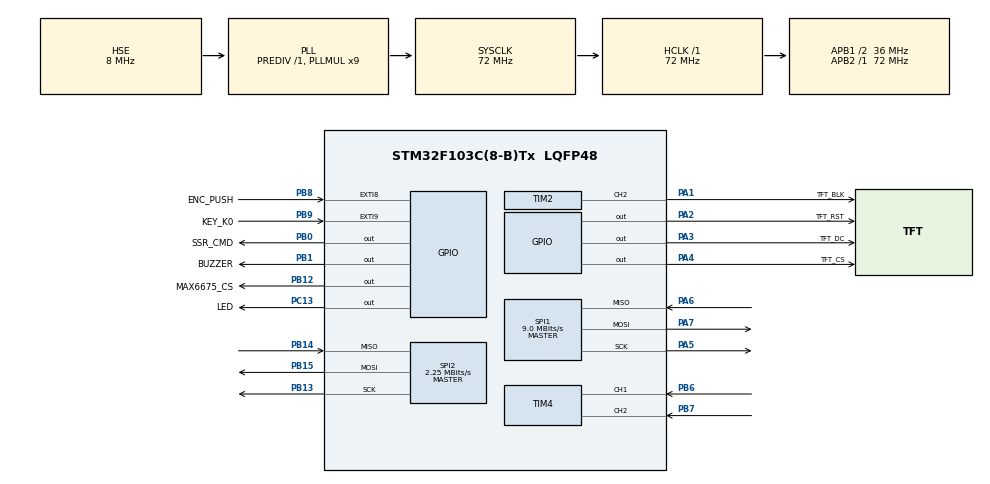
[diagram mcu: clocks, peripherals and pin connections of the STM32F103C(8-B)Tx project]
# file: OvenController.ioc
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Mcu.Family=STM32F1
Mcu.Name=STM32F103C(8-B)Tx
Mcu.Package=LQFP48
NVIC.EXTI9_5_IRQn=true\:0\:0\:false\:false\:true\:true\:true\:true
NVIC.PriorityGroup=NVIC_PRIORITYGROUP_4
PA1.GPIO_Label=TFT_BLK
PA1.Signal=S_TIM2_CH2
PA13.Mode=Serial_Wire
PA13.Signal=SYS_JTMS-SWDIO
PA14.Mode=Serial_Wire
PA14.Signal=SYS_JTCK-SWCLK
PA2.GPIO_Label=TFT_RST
PA2.PinState=GPIO_PIN_SET
PA2.Signal=GPIO_Output
PA3.GPIO_Label=TFT_DC
PA3.Signal=GPIO_Output
PA4.GPIO_Label=TFT_CS
PA4.PinState=GPIO_PIN_SET
PA4.Signal=GPIO_Output
PA5.Mode=Full_Duplex_Master
PA5.Signal=SPI1_SCK
PA6.Mode=Full_Duplex_Master
PA6.Signal=SPI1_MISO
PA7.Mode=Full_Duplex_Master
PA7.Signal=SPI1_MOSI
PB0.GPIO_Label=SSR_CMD
PB0.Signal=GPIO_Output
PB1.GPIO_Label=BUZZER
PB1.Signal=GPIO_Output
PB12.GPIO_Label=MAX6675_CS
PB12.PinState=GPIO_PIN_SET
PB12.Signal=GPIO_Output
PB13.Mode=Full_Duplex_Master
PB13.Signal=SPI2_SCK
PB14.Mode=Full_Duplex_Master
PB14.Signal=SPI2_MISO
PB15.Mode=Full_Duplex_Master
PB15.Signal=SPI2_MOSI
PB6.Signal=S_TIM4_CH1
PB7.Signal=S_TIM4_CH2
PB8.GPIO_Label=ENC_PUSH
PB8.GPIO_ModeDefaultEXTI=GPIO_MODE_IT_FALLING
PB8.GPIO_PuPd=GPIO_PULLUP
PB8.Signal=GPXTI8
PB9.GPIO_Label=KEY_K0
PB9.GPIO_ModeDefaultEXTI=GPIO_MODE_IT_FALLING
PB9.GPIO_PuPd=GPIO_PULLUP
PB9.Signal=GPXTI9
PC13-TAMPER-RTC.GPIO_Label=LED
PC13-TAMPER-RTC.Signal=GPIO_Output
PD0-OSC_IN.Mode=HSE-External-Oscillator
PD0-OSC_IN.Signal=RCC_OSC_IN
PD1-OSC_OUT.Mode=HSE-External-Oscillator
PD1-OSC_OUT.Signal=RCC_OSC_OUT
ProjectManager.HeapSize=0x200
ProjectManager.StackSize=0x400
ProjectManager.TargetToolchain=STM32CubeIDE
RCC.AHBFreq_Value=72000000
RCC.APB1CLKDivider=RCC_HCLK_DIV2
RCC.APB1Freq_Value=36000000
RCC.APB1TimFreq_Value=72000000
RCC.APB2Freq_Value=72000000
RCC.APB2TimFreq_Value=72000000
RCC.HCLKFreq_Value=72000000
RCC.PLLMUL=RCC_PLL_MUL9
RCC.PLLSourceVirtual=RCC_PLLSOURCE_HSE
RCC.SYSCLKFreq_VALUE=72000000
RCC.SYSCLKSource=RCC_SYSCLKSOURCE_PLLCLK
RCC.USBFreq_Value=72000000
SH.S_TIM2_CH2.0=TIM2_CH2,PWM Generation2 CH2
SH.S_TIM4_CH1.0=TIM4_CH1,Encoder_Interface
SH.S_TIM4_CH2.0=TIM4_CH2,Encoder_Interface
SPI1.BaudRatePrescaler=SPI_BAUDRATEPRESCALER_8
SPI1.CalculateBaudRate=9.0 MBits/s
SPI1.Direction=SPI_DIRECTION_2LINES
SPI1.Mode=SPI_MODE_MASTER
SPI1.VirtualType=VM_MASTER
SPI2.BaudRatePrescaler=SPI_BAUDRATEPRESCALER_16
SPI2.CalculateBaudRate=2.25 MBits/s
SPI2.Direction=SPI_DIRECTION_2LINES
SPI2.Mode=SPI_MODE_MASTER
SPI2.VirtualType=VM_MASTER
TIM2.Channel-PWM\ Generation2\ CH2=TIM_CHANNEL_2
TIM2.Period=999
TIM2.Prescaler=71
TIM4.EncoderMode=TIM_ENCODERMODE_TI12
TIM4.IC1Filter=4
TIM4.IC2Filter=4
board=custom

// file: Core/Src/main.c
/* USER CODE BEGIN Header */
/**
 ******************************************************************************
 * @file           : main.c
 * @brief          : Main program body
 ******************************************************************************
 * @attention
 *
 * Copyright (c) 2026 STMicroelectronics.
 * All rights reserved.
 *
 * This software is licensed under terms that can be found in the LICENSE file
 * in the root directory of this software component.
 * If no LICENSE file comes with this software, it is provided AS-IS.
 *
 ******************************************************************************
 */
/* USER CODE END Header */
#include "main.h"

/* USER CODE BEGIN Includes */
#include "st7789.h"
#include "oven_app.h"
/* USER CODE END Includes */

SPI_HandleTypeDef hspi1;
SPI_HandleTypeDef hspi2;

TIM_HandleTypeDef htim2;
TIM_HandleTypeDef htim4;

void SystemClock_Config(void);
static void MX_GPIO_Init(void);
static void MX_SPI1_Init(void);
static void MX_SPI2_Init(void);
static void MX_TIM2_Init(void);
static void MX_TIM4_Init(void);

/* USER CODE BEGIN 0 */

/* Pode ser chamada antes da HAL e de dentro dos handlers de falha. */
void Safety_HeaterOff(void) {
	RCC->APB2ENR |= RCC_APB2ENR_IOPBEN;
	(void) RCC->APB2ENR;
	GPIOB->BRR = SSR_CMD_Pin;
	/* PB0: saida push-pull, 2 MHz. Garante nivel baixo mesmo antes de MX_GPIO_Init. */
	GPIOB->CRL = (GPIOB->CRL & ~0xFUL) | 0x2UL;
}

void Safety_WatchdogInit(void) {
	uint32_t start = HAL_GetTick();
#ifdef DEBUG
	/* Permite inspecionar o firmware com o core parado no depurador. */
	DBGMCU->CR |= DBGMCU_CR_DBG_IWDG_STOP;
#endif
	IWDG->KR = 0xCCCCU;
	IWDG->KR = 0x5555U;
	IWDG->PR = 6U;    /* LSI / 256 */
	IWDG->RLR = 1249U; /* Aproximadamente 8 s para LSI de 40 kHz. */
	while (IWDG->SR != 0U) {
		if ((uint32_t)(HAL_GetTick() - start) >= 100U) {
			Error_Handler();
		}
	}
	IWDG->KR = 0xAAAAU;
}

void Safety_WatchdogRefresh(void) {
	IWDG->KR = 0xAAAAU;
}

/* USER CODE END 0 */

int main(void) {

	/* USER CODE BEGIN 1 */
	Safety_HeaterOff();

	/* USER CODE END 1 */

	/* MCU Configuration--------------------------------------------------------*/

	/* Reset of all peripherals, Initializes the Flash interface and the Systick. */
	HAL_Init();

	/* Configure the system clock */
	SystemClock_Config();

	/* Initialize all configured peripherals */
	MX_GPIO_Init();
	MX_SPI1_Init();
	MX_SPI2_Init();
	MX_TIM2_Init();
	MX_TIM4_Init();
	/* USER CODE BEGIN 2 */
	Safety_WatchdogInit();
	/* Backlight TFT */
	if (HAL_TIM_PWM_Start(&htim2, TIM_CHANNEL_2) != HAL_OK) {
		Error_Handler();
	}
	__HAL_TIM_SET_COMPARE(&htim2, TIM_CHANNEL_2, 999);

	/* Display e aplicacao */
	ST7789_Init();
	OvenApp_Init();
	/* USER CODE END 2 */

	/* Infinite loop */
	while (1) {

		/* USER CODE BEGIN 3 */
		OvenApp_Process();
		/* Alimenta apenas apos completar sensor, controle e UI. */
		Safety_WatchdogRefresh();
		/* USER CODE END 3 */
	}
}

void SystemClock_Config(void) {
	RCC_OscInitTypeDef RCC_OscInitStruct = { 0 };
	RCC_ClkInitTypeDef RCC_ClkInitStruct = { 0 };

	/** Initializes the RCC Oscillators according to the specified parameters
	 * in the RCC_OscInitTypeDef structure.
	 */
	RCC_OscInitStruct.OscillatorType = RCC_OSCILLATORTYPE_HSE;
	RCC_OscInitStruct.HSEState = RCC_HSE_ON;
	RCC_OscInitStruct.HSEPredivValue = RCC_HSE_PREDIV_DIV1;
	RCC_OscInitStruct.HSIState = RCC_HSI_ON;
	RCC_OscInitStruct.PLL.PLLState = RCC_PLL_ON;
	RCC_OscInitStruct.PLL.PLLSource = RCC_PLLSOURCE_HSE;
	RCC_OscInitStruct.PLL.PLLMUL = RCC_PLL_MUL9;
	if (HAL_RCC_OscConfig(&RCC_OscInitStruct) != HAL_OK) {
		Error_Handler();
	}

	/** Initializes the CPU, AHB and APB buses clocks
	 */
	RCC_ClkInitStruct.ClockType = RCC_CLOCKTYPE_HCLK | RCC_CLOCKTYPE_SYSCLK
			| RCC_CLOCKTYPE_PCLK1 | RCC_CLOCKTYPE_PCLK2;
	RCC_ClkInitStruct.SYSCLKSource = RCC_SYSCLKSOURCE_PLLCLK;
	RCC_ClkInitStruct.AHBCLKDivider = RCC_SYSCLK_DIV1;
	RCC_ClkInitStruct.APB1CLKDivider = RCC_HCLK_DIV2;
	RCC_ClkInitStruct.APB2CLKDivider = RCC_HCLK_DIV1;

	if (HAL_RCC_ClockConfig(&RCC_ClkInitStruct, FLASH_LATENCY_2) != HAL_OK) {
		Error_Handler();
	}
}

static void MX_SPI1_Init(void) {

	/* SPI1 parameter configuration*/
	hspi1.Instance = SPI1;
	hspi1.Init.Mode = SPI_MODE_MASTER;
	hspi1.Init.Direction = SPI_DIRECTION_2LINES;
	hspi1.Init.DataSize = SPI_DATASIZE_8BIT;
	hspi1.Init.CLKPolarity = SPI_POLARITY_LOW;
	hspi1.Init.CLKPhase = SPI_PHASE_1EDGE;
	hspi1.Init.NSS = SPI_NSS_SOFT;
	hspi1.Init.BaudRatePrescaler = SPI_BAUDRATEPRESCALER_8;
	hspi1.Init.FirstBit = SPI_FIRSTBIT_MSB;
	hspi1.Init.TIMode = SPI_TIMODE_DISABLE;
	hspi1.Init.CRCCalculation = SPI_CRCCALCULATION_DISABLE;
	hspi1.Init.CRCPolynomial = 10;
	if (HAL_SPI_Init(&hspi1) != HAL_OK) {
		Error_Handler();
	}

}

static void MX_SPI2_Init(void) {

	/* SPI2 parameter configuration*/
	hspi2.Instance = SPI2;
	hspi2.Init.Mode = SPI_MODE_MASTER;
	hspi2.Init.Direction = SPI_DIRECTION_2LINES;
	hspi2.Init.DataSize = SPI_DATASIZE_8BIT;
	hspi2.Init.CLKPolarity = SPI_POLARITY_LOW;
	hspi2.Init.CLKPhase = SPI_PHASE_1EDGE;
	hspi2.Init.NSS = SPI_NSS_SOFT;
	hspi2.Init.BaudRatePrescaler = SPI_BAUDRATEPRESCALER_16;
	hspi2.Init.FirstBit = SPI_FIRSTBIT_MSB;
	hspi2.Init.TIMode = SPI_TIMODE_DISABLE;
	hspi2.Init.CRCCalculation = SPI_CRCCALCULATION_DISABLE;
	hspi2.Init.CRCPolynomial = 10;
	if (HAL_SPI_Init(&hspi2) != HAL_OK) {
		Error_Handler();
	}

}

static void MX_TIM2_Init(void) {

	TIM_MasterConfigTypeDef sMasterConfig = { 0 };
	TIM_OC_InitTypeDef sConfigOC = { 0 };

	htim2.Instance = TIM2;
	htim2.Init.Prescaler = 71;
	htim2.Init.CounterMode = TIM_COUNTERMODE_UP;
	htim2.Init.Period = 999;
	htim2.Init.ClockDivision = TIM_CLOCKDIVISION_DIV1;
	htim2.Init.AutoReloadPreload = TIM_AUTORELOAD_PRELOAD_DISABLE;
	if (HAL_TIM_PWM_Init(&htim2) != HAL_OK) {
		Error_Handler();
	}
	sMasterConfig.MasterOutputTrigger = TIM_TRGO_RESET;
	sMasterConfig.MasterSlaveMode = TIM_MASTERSLAVEMODE_DISABLE;
	if (HAL_TIMEx_MasterConfigSynchronization(&htim2, &sMasterConfig)
			!= HAL_OK) {
		Error_Handler();
	}
	sConfigOC.OCMode = TIM_OCMODE_PWM1;
	sConfigOC.Pulse = 999;
	sConfigOC.OCPolarity = TIM_OCPOLARITY_HIGH;
	sConfigOC.OCFastMode = TIM_OCFAST_DISABLE;
	if (HAL_TIM_PWM_ConfigChannel(&htim2, &sConfigOC, TIM_CHANNEL_2)
			!= HAL_OK) {
		Error_Handler();
	}
	HAL_TIM_MspPostInit(&htim2);

}

static void MX_TIM4_Init(void) {

	TIM_Encoder_InitTypeDef sConfig = { 0 };
	TIM_MasterConfigTypeDef sMasterConfig = { 0 };

	htim4.Instance = TIM4;
	htim4.Init.Prescaler = 0;
	htim4.Init.CounterMode = TIM_COUNTERMODE_UP;
	htim4.Init.Period = 65535;
	htim4.Init.ClockDivision = TIM_CLOCKDIVISION_DIV1;
	htim4.Init.AutoReloadPreload = TIM_AUTORELOAD_PRELOAD_DISABLE;
	sConfig.EncoderMode = TIM_ENCODERMODE_TI12;
	sConfig.IC1Polarity = TIM_ICPOLARITY_RISING;
	sConfig.IC1Selection = TIM_ICSELECTION_DIRECTTI;
	sConfig.IC1Prescaler = TIM_ICPSC_DIV1;
	sConfig.IC1Filter = 4;
	sConfig.IC2Polarity = TIM_ICPOLARITY_RISING;
	sConfig.IC2Selection = TIM_ICSELECTION_DIRECTTI;
	sConfig.IC2Prescaler = TIM_ICPSC_DIV1;
	sConfig.IC2Filter = 4;
	if (HAL_TIM_Encoder_Init(&htim4, &sConfig) != HAL_OK) {
		Error_Handler();
	}
	sMasterConfig.MasterOutputTrigger = TIM_TRGO_RESET;
	sMasterConfig.MasterSlaveMode = TIM_MASTERSLAVEMODE_DISABLE;
	if (HAL_TIMEx_MasterConfigSynchronization(&htim4, &sMasterConfig)
			!= HAL_OK) {
		Error_Handler();
	}

}

static void MX_GPIO_Init(void) {
	GPIO_InitTypeDef GPIO_InitStruct = { 0 };

	/* GPIO Ports Clock Enable */
	__HAL_RCC_GPIOC_CLK_ENABLE();
	__HAL_RCC_GPIOD_CLK_ENABLE();
	__HAL_RCC_GPIOA_CLK_ENABLE();
	__HAL_RCC_GPIOB_CLK_ENABLE();

	/*Configure GPIO pin Output Level */
	HAL_GPIO_WritePin(LED_GPIO_Port, LED_Pin, GPIO_PIN_RESET);

	/*Configure GPIO pin Output Level */
	HAL_GPIO_WritePin(GPIOA, TFT_RST_Pin | TFT_CS_Pin, GPIO_PIN_SET);

	/*Configure GPIO pin Output Level */
	HAL_GPIO_WritePin(TFT_DC_GPIO_Port, TFT_DC_Pin, GPIO_PIN_RESET);

	/*Configure GPIO pin Output Level */
	HAL_GPIO_WritePin(GPIOB, SSR_CMD_Pin | BUZZER_Pin, GPIO_PIN_RESET);

	/*Configure GPIO pin Output Level */
	HAL_GPIO_WritePin(MAX6675_CS_GPIO_Port, MAX6675_CS_Pin, GPIO_PIN_SET);

	/*Configure GPIO pin : LED_Pin */
	GPIO_InitStruct.Pin = LED_Pin;
	GPIO_InitStruct.Mode = GPIO_MODE_OUTPUT_PP;
	GPIO_InitStruct.Pull = GPIO_NOPULL;
	GPIO_InitStruct.Speed = GPIO_SPEED_FREQ_LOW;
	HAL_GPIO_Init(LED_GPIO_Port, &GPIO_InitStruct);

	/*Configure GPIO pins : TFT_RST_Pin TFT_DC_Pin TFT_CS_Pin */
	GPIO_InitStruct.Pin = TFT_RST_Pin | TFT_DC_Pin | TFT_CS_Pin;
	GPIO_InitStruct.Mode = GPIO_MODE_OUTPUT_PP;
	GPIO_InitStruct.Pull = GPIO_NOPULL;
	GPIO_InitStruct.Speed = GPIO_SPEED_FREQ_LOW;
	HAL_GPIO_Init(GPIOA, &GPIO_InitStruct);

	/*Configure GPIO pins : SSR_CMD_Pin BUZZER_Pin MAX6675_CS_Pin */
	GPIO_InitStruct.Pin = SSR_CMD_Pin | BUZZER_Pin | MAX6675_CS_Pin;
	GPIO_InitStruct.Mode = GPIO_MODE_OUTPUT_PP;
	GPIO_InitStruct.Pull = GPIO_NOPULL;
	GPIO_InitStruct.Speed = GPIO_SPEED_FREQ_LOW;
	HAL_GPIO_Init(GPIOB, &GPIO_InitStruct);

	/*Configure GPIO pins : ENC_PUSH_Pin KEY_K0_Pin */
	GPIO_InitStruct.Pin = ENC_PUSH_Pin | KEY_K0_Pin;
	GPIO_InitStruct.Mode = GPIO_MODE_IT_FALLING;
	GPIO_InitStruct.Pull = GPIO_PULLUP;
	HAL_GPIO_Init(GPIOB, &GPIO_InitStruct);

	/* EXTI interrupt init*/
	HAL_NVIC_SetPriority(EXTI9_5_IRQn, 0, 0);
	HAL_NVIC_EnableIRQ(EXTI9_5_IRQn);

}

void Error_Handler(void) {
	/* USER CODE BEGIN Error_Handler_Debug */
	Safety_HeaterOff();
	/* User can add his own implementation to report the HAL error return state */
	__disable_irq();
	while (1) {
	}
	/* USER CODE END Error_Handler_Debug */
}
